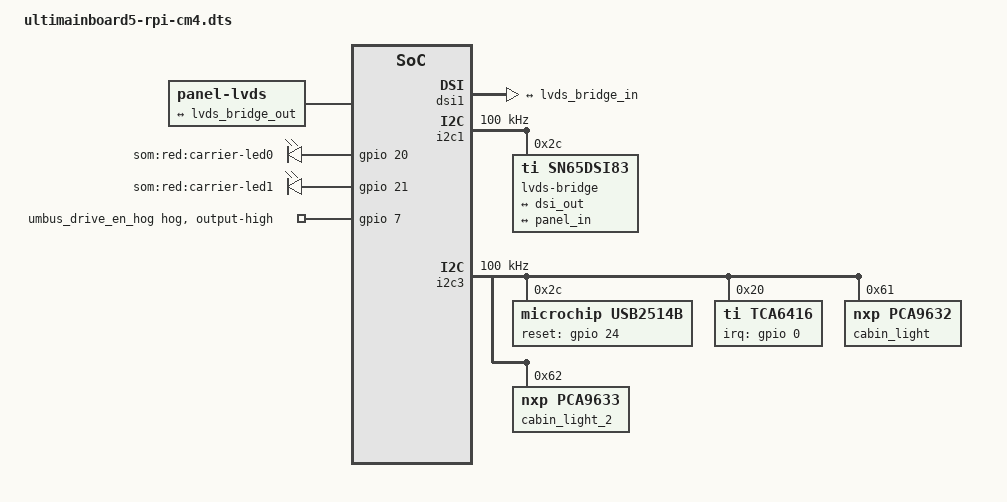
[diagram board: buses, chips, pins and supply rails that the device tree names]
#include "broadcom/bcm2711-rpi-cm4.dts"

/ {
    panel-lvds {
        compatible = "panel-lvds";
        status = "okay";
        ports {
            #address-cells = <1>;
            #size-cells = <0>;
            port@0 {
                reg = <0>;
                panel_in: endpoint {
                    remote-endpoint = <&lvds_bridge_out>;
                };
            };
        };
    };
};

&gpio {
    gpio-line-names = "", "", "", "", "", "", "", "",
                      "", "", "", "", "PWR_BTN_LED", "", "", "",
                      "SAFETY_ENABLED", "", "EEPROM_WP", "PWR_BTN_STATE", "HEARTBEAT_LED", "ERR_LED", "", "TCA6416A_nINT",
                      "USB2514B_Reset", "IMXRT_BootMode_En", "IMXRT_nReset",
    gpio23_io_int: gpio23-io-int {
        brcm,pins = <23>;
        brcm,function = <BCM2835_FSEL_GPIO_IN>;
    };

    // Always set ultibus drive enable high
    umbus_drive_enable_hog {
        gpio-hog;
        gpios = <7 GPIO_ACTIVE_HIGH>;
        output-high;
        line-name = "umbus_drive_en_hog";
    };
};

&dsi1 {
    #address-cells = <1>;
    #size-cells = <0>;
    status = "okay";
    port {
        dsi_out: endpoint {
            remote-endpoint = <&lvds_bridge_in>;
        };
    };
};

i2c_display: &i2c0 {};
i2c_interface: &i2c1 {
    status = "okay";
    clock-frequency = <100000>;

    /*
    usb2514b@2c {
        compatible = "microchip,usb2514b";
        reg = <0x2c>;
        self-powered;
        individual-sensing;
        individual-port-switching;
        power-on-time-ms = <200>;
    };
    */

    lvds-bridge@2c {
        compatible = "ti,sn65dsi83";
        reg = <0x2c>;   // Well shit, why did they manage to pick the same address as the USB hub?
        status = "okay";
        ports {
            #address-cells = <1>;
            #size-cells = <0>;
            port@0 {
		        // Video port for MIPI DSI Channel-A input
                reg = <0>;
                lvds_bridge_in: endpoint {
                    remote-endpoint = <&dsi_out>;
                    data-lanes = <1 2 3 4>;     // Apparently, getting all 4 lanes to work can be finicky... If it doesn't work, try using only 2
                };
            };

            port@2 {
		        // Video port for LVDS Channel-A output (panel or bridge).
                reg = <2>;
                lvds_bridge_out: endpoint {
                    remote-endpoint = <&panel_in>;
                };
            };
        };
    };
};

i2c_mainboard: &i2c3 {
    status = "okay";
    clock-frequency = <100000>;

    usb2514b@2c {
        compatible = "microchip,usb2514b";
        reg = <0x2c>;
        reset-gpios = <&gpio 24 GPIO_ACTIVE_HIGH>;
        self-powered;
        individual-sensing;
        individual-port-switching;
        power-on-time-ms = <200>;
    };

    tca6416@20 {
        compatible = "ti,tca6416";
        reg = <0x20>;
        pinctrl-names = "default";
        pinctrl-0 = <&gpio23_io_int>;
        interrupt-parent = <&gpio>;
        interrupts = <0 IRQ_TYPE_LEVEL_LOW>;
        gpio-controller;
        #gpio-cells = <2>;
        gpio-line-names = "VCC5_EXT_EN", "VCC5_EXT_OK", "VCC5_FAN_EN", "VCC5_FAN_OK",
                          "HDMI_PWR_EN", "HDMI_PWR_OK", "VCC5_PH_EN", "VCC5_PH_OK",
                          "VCC24_HP_PG", "VCC24_MOT_PG", "LVDS_PWR_EN", "LVDS_PWR_OK",
                          "SAFETY_BTN_STATUS", "SAFETY_RESET", "VCC24_PH_EN", "VCC24_MOT_EN";
    };

    cabin_light: pca9632@61 {
        compatible = "nxp,pca9632";
        #address-cells = <1>;
        #size-cells = <0>;
        reg = <0x61>;
        nxp,totem-pole;
        nxp,inverted-out;
        nxp,hw-blink;
        white4@0 {
            label = "white4:cabin_light";
            reg = <0>;
            linux,default-trigger = "default-on";
        };
        white3@1 {
            label = "white3:cabin_light";
            reg = <1>;
            linux,default-trigger = "default-on";
        };
        white2@2 {
            label = "white2:cabin_light";
            reg = <2>;
            linux,default-trigger = "default-on";
        };
        white@3 {
            label = "white:cabin_light";
            reg = <3>;
            linux,default-trigger = "default-on";
        };
    };

    cabin_light_2: pca9633@62 {
        compatible = "nxp,pca9633";
        #address-cells = <1>;
        #size-cells = <0>;
        reg = <0x62>;
        nxp,totem-pole;
        nxp,inverted-out;
        nxp,hw-blink;
        white4@0 {
            label = "white4:cabin_light";
            reg = <0>;
            linux,default-trigger = "default-on";
        };
        white3@1 {
            label = "white3:cabin_light";
            reg = <1>;
            linux,default-trigger = "default-on";
        };
        white2@2 {
            label = "white2:cabin_light";
            reg = <2>;
            linux,default-trigger = "default-on";
        };
        white@3 {
            label = "white:cabin_light";
            reg = <3>;
            linux,default-trigger = "default-on";
        };
    };
};

/ {
    leds {
        compatible = "gpio-leds";
        pinctrl-names = "default";
        pinctrl-0 = <&pinctrl_leds_1>;

        led0 {
            label = "som:red:carrier-led0";
            gpios = <&gpio 20 GPIO_ACTIVE_HIGH>;
            linux,default-trigger = "heartbeat";
            default-state = "keep";
        };

        led1 {
            label = "som:red:carrier-led1";
            gpios = <&gpio 21 GPIO_ACTIVE_HIGH>;
            linux,default-trigger = "none";
            default-state = "keep";
        };

        // led2 {
        //     label = "som:red:carrier-sd-led";
        //     gpios = <&gpio1 6 GPIO_ACTIVE_HIGH>;
        //     linux,default-trigger = "mmc1";
        //     default-state = "keep";
        // };
    };

    gpio-keys {
       status = "disabled";
    };
};
